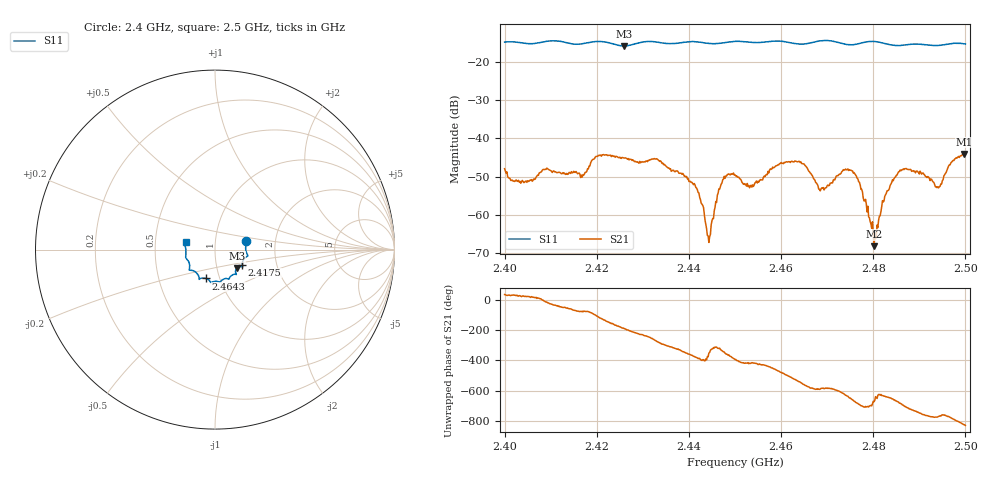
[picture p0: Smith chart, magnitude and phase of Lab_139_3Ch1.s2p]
# Hz S RI R 50
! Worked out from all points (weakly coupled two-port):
!   601 points, 2.4 GHz to 2.5 GHz, reference 50 ohm
!   highest |S21| = -44.13 dB at 2.4997 GHz (marker M1); lowest = -68.1 dB at 2.4802 GHz (marker M2)
!   lowest |S11| = -15.9 dB at 2.4258 GHz (marker M3), VSWR 1.38, Z = 62.3 - j13.2 ohm
!   |S11| at or under -10 dB: start of sweep to end of sweep
!   S12 and S22 are empty: the file has one direction only
!   S11 on the Smith chart (normalised r, x): 2.4 GHz: 1.41, +0.14; 2.4175 GHz: 1.34, -0.23; 2.4643 GHz: 0.86, -0.29; 2.5 GHz: 0.72, +0.06
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2.4e9  0.1726 0.0491  0.0033 0.00227  0 0  0 0
2.403667e9  0.1732 0.0287  0.00252 0.000954  0 0  0 0
2.416667e9  0.1529 -0.0737  0.000696 -0.00323  0 0  0 0
2.4175e9  0.152 -0.0831  0.00081 -0.00351  0 0  0 0
2.420333e9  0.1544 -0.0977  -0.0023 -0.00552  0 0  0 0
2.425833e9  0.1216 -0.1033  -0.0055 0.000708  0 0  0 0
2.433333e9  0.1134 -0.1373  0.000792 0.00515  0 0  0 0
2.441333e9  0.0765 -0.1648  0.00235 -0.000721  0 0  0 0
2.444167e9  0.0622 -0.1608  0.00051 -0.000149  0 0  0 0
2.447167e9  0.0396 -0.1695  0.00236 0.00107  0 0  0 0
2.45e9  0.029 -0.1809  0.00278 -0.00184  0 0  0 0
2.453667e9  0.013 -0.1772  0.00133 -0.00188  0 0  0 0
2.464333e9  -0.0498 -0.1609  -0.00486 0.00059  0 0  0 0
2.466667e9  -0.0758 -0.1594  -0.0025 0.00218  0 0  0 0
2.468833e9  -0.0878 -0.1655  -0.00162 0.00157  0 0  0 0
2.475667e9  -0.1127 -0.1217  0.00193 0.00294  0 0  0 0
2.480167e9  -0.1437 -0.1125  0.000264 0.000289  0 0  0 0
2.483333e9  -0.1408 -0.09  0.000499 0.00205  0 0  0 0
2.487e9  -0.155 -0.0558  0.00385 0.0011  0 0  0 0
2.494e9  -0.1619 -0.00198  0.00142 -0.00184  0 0  0 0
2.499667e9  -0.1655 0.0412  -0.00144 -0.00604  0 0  0 0
2.5e9  -0.1638 0.0431  -0.00199 -0.00582  0 0  0 0
